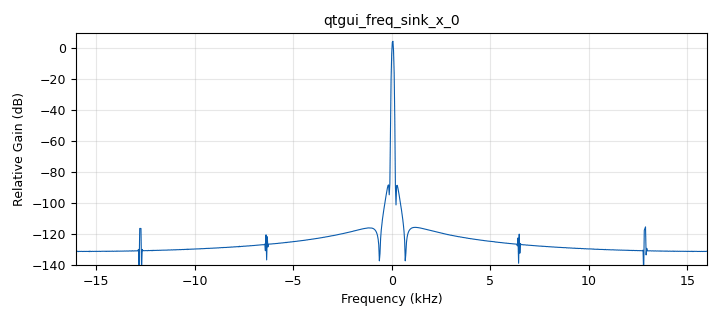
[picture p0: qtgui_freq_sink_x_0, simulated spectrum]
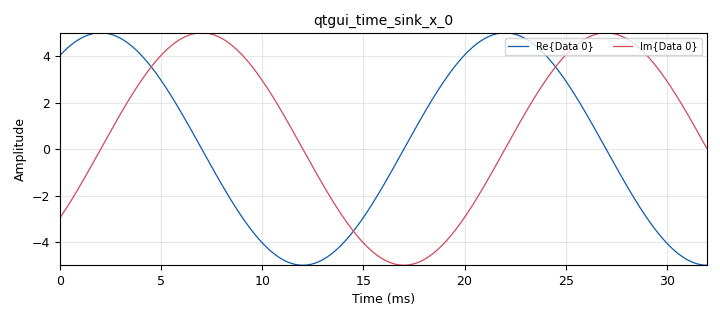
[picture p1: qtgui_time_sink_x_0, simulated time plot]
options:
  parameters:
    generate_options: qt_gui
    id: Test1
    output_language: python
    title: Sample_frequency
  states: {}

blocks:
- name: frequency
  id: variable
  parameters:
    value: samp_rate/2
  states: {state: disabled}
- name: frequency
  id: variable_qtgui_range
  parameters:
    start: '-samp_rate/2'
    step: '100'
    stop: samp_rate/2
    value: '50'
  states: {}
- name: samp_rate
  id: variable
  parameters:
    value: '32000'
  states: {}
- name: analog_sig_source_x_0
  id: analog_sig_source_x
  parameters:
    amp: '5'
    freq: frequency
    offset: '0'
    phase: '0'
    samp_rate: samp_rate
    type: complex
    waveform: analog.GR_COS_WAVE
  states: {}
- name: blocks_throttle_0
  id: blocks_throttle
  parameters:
    samples_per_second: samp_rate
    type: complex
  states: {}
- name: qtgui_freq_sink_x_0
  id: qtgui_freq_sink_x
  parameters:
    bw: samp_rate
    fc: '0'
    fftsize: '1024'
    type: complex
  states: {}
- name: qtgui_time_sink_x_0
  id: qtgui_time_sink_x
  parameters:
    size: '1024'
    srate: samp_rate
    type: complex
    ymax: '5'
    ymin: '-5'
  states: {}

connections:
- [analog_sig_source_x_0, '0', blocks_throttle_0, '0']
- [blocks_throttle_0, '0', qtgui_freq_sink_x_0, '0']
- [blocks_throttle_0, '0', qtgui_time_sink_x_0, '0']

metadata:
  file_format: 1
